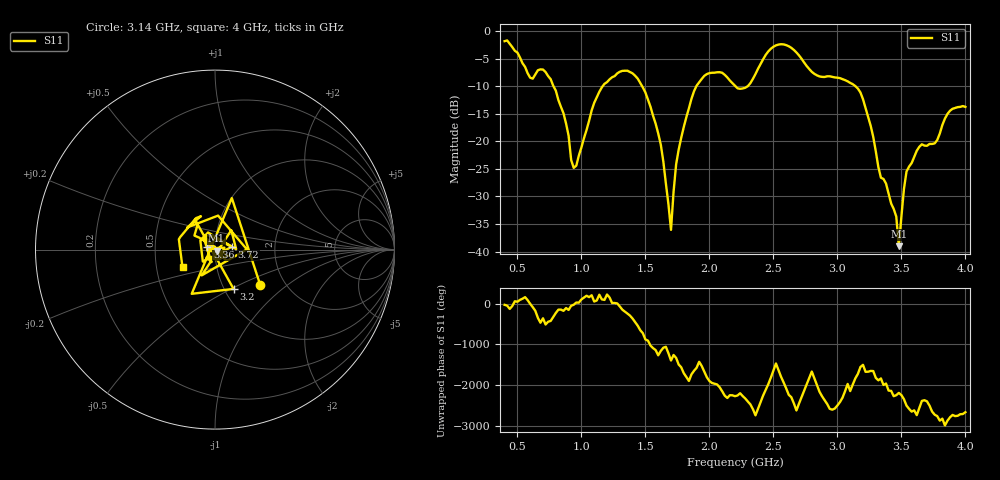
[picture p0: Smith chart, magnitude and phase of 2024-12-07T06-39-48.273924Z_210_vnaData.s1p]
!Created with skrf (http://scikit-rf.org).
# Hz S RI R 50.0
!freq ReS11 ImS11
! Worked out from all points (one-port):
!   181 points, 400 MHz to 4 GHz, reference 50 ohm
!   lowest |S11| = -39.0 dB at 3.48 GHz (marker M1), VSWR 1.02, Z = 50.9 - j0.661 ohm
!   |S11| at or under -10 dB: 782.6 MHz to 1.165 GHz (382.5 MHz wide, 39.3 % of centre); 1.475 GHz to 1.897 GHz (421.9 MHz wide, 25 % of centre); 3.142 GHz to end of sweep (the widest 3 of 4)
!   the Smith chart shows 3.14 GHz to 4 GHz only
!   S11 on the Smith chart (normalised r, x): 3.14 GHz: 1.50, -0.65; 3.2 GHz: 1.10, -0.51; 3.36 GHz: 0.92, +0.03; 3.72 GHz: 1.21, +0.04; 4 GHz: 0.68, -0.14
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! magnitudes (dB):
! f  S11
! 400 MHz  -1.8
! 600 MHz  -8.4
! 720 MHz  -7.4
! 860 MHz  -14.9
! 940 MHz  -24.8
! 1.14 GHz  -11.0
! 1.3 GHz  -7.3
! 1.44 GHz  -8.6
! 1.54 GHz  -13.7
! 1.62 GHz  -20.6
! 1.7 GHz  -36.1
! 1.76 GHz  -21.5
! 1.88 GHz  -10.9
! 1.96 GHz  -8.1
! 2.2 GHz  -9.9
! 2.3 GHz  -10.0
! 2.5 GHz  -2.8
! 2.66 GHz  -3.4
! 3.1 GHz  -9.4
! 3.14 GHz  -9.9
! 3.2 GHz  -12.3
! 3.36 GHz  -26.8
! 3.46 GHz  -33.6
! 3.48 GHz  -39.0
! 3.52 GHz  -28.6
! 3.56 GHz  -24.6
! 3.72 GHz  -20.5
! 4 GHz  -13.7
